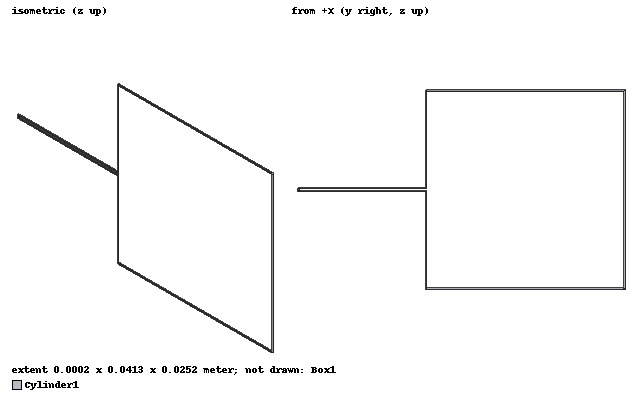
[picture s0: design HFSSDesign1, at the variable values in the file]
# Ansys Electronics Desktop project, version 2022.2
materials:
  vacuum: permittivity=1
  perfect conductor: conductivity=1e+30
  pec: conductivity=1e+30
  air: permittivity=1.0006 permeability=1.0000004

design HFSSDesign1 (HFSS, DrivenModal, model units meter)
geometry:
  Cylinder1 [pec] = cylinder(axis=Z, base_centre=(0meter, 0meter, 0.0002meter), radius=0.0001meter, height=0.0123meter)
  Cylinder2 = cylinder(axis=Z, base_centre=(0meter, 0meter, -0.0002meter), radius=0.0001meter, height=-0.0123meter)
  Cylinder3 = cylinder(axis=Z, base_centre=(0meter, 0.025meter, -0.0125meter), radius=0.0001meter, height=0.025meter)
  Cylinder4 = cylinder(axis=Y, base_centre=(0meter, 0meter, 0.0125meter), radius=0.0001meter, height=0.025meter)
  Cylinder5 = cylinder(axis=Y, base_centre=(0meter, 0meter, -0.0125meter), radius=0.0001meter, height=0.025meter)
  Cylinder6 = cylinder(axis=Y, base_centre=(0meter, 0meter, -0.0002meter), radius=0.0001meter, height=-0.0162meter)
  Cylinder7 = cylinder(axis=Y, base_centre=(0meter, 0meter, 0.0002meter), radius=0.0001meter, height=-0.0162meter)
  Sphere1 = sphere(centre=(0meter, 0meter, 0.0002meter), radius=0.0001meter)
  Sphere2 = sphere(centre=(0meter, 0meter, -0.0002meter), radius=0.0001meter)
  Sphere3 = sphere(centre=(0meter, 0meter, 0.0125meter), radius=0.0001meter)
  Sphere4 = sphere(centre=(0meter, 0meter, -0.0125meter), radius=0.0001meter)
  Sphere5 = sphere(centre=(0meter, 0.025meter, -0.0125meter), radius=0.0001meter)
  Sphere6 = sphere(centre=(0meter, 0.025meter, 0.0125meter), radius=0.0001meter)
  Rectangle1 [pec] = rectangle(corner=(0meter, -0.0162meter, -0.0001meter), y_size=0.0002meter, z_size=0.0002meter)
  Cylinder3.unite(Cylinder5, Sphere5)
  Cylinder1.unite(Cylinder2, Cylinder3, Cylinder4, Cylinder6, Cylinder7, Sphere1..Sphere4, Sphere6)
  Box1 [air] = box(corner=(-0.05meter, -0.05meter, -0.05meter), size=(0.1meter, 0.1meter, 0.1meter))
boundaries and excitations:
  Rad1: Radiation Objects=Box1
  1: Lumped Port Objects=Rectangle1 Modes{Mode1{IntLine{(0, -0.0161, -0.0001) -> (0, -0.0161, 0.0001)} CharImp=Zpi RenormImp=50ohm}} Impedance=50ohm
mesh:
  SurfApprox1: SurfApproxBased Objects=Box1 CurvedSurfaceApproxChoice=UseSlider SliderMeshSettings=1
  SurfApprox2: SurfApproxBased Objects=Cylinder1 CurvedSurfaceApproxChoice=UseSlider SliderMeshSettings=1
  SurfApprox3: SurfApproxBased Objects=Rectangle1 CurvedSurfaceApproxChoice=UseSlider SliderMeshSettings=1
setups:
  Setup1: HfssDrivenAuto AutoSolverSetting="Higher Speed" Type=Interpolating
    sweep Sweep: 2GHz to 4GHz, 401 points;
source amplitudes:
  1:1: 1W 0deg
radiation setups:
  Infinite Sphere1: Infinite Sphere Theta=0deg..180deg step 2deg Phi=-180deg..180deg step 2deg
  Infinite Sphere2: Infinite Sphere Theta=0deg..360deg step 0.1rad Phi=0deg..360deg step 0.1rad
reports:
  S Parameter Plot 1: dB(S(1,1)) vs Freq on Setup1 : Sweep
  VSWR Plot 1: dB(VSWR(1)) vs Freq on Setup1 : Sweep
  Gain Plot 1: dB(GainTotal) vs Theta on Setup1 : LastAdaptive, Infinite Sphere2 [Phi=all Freq=3GHz]
  Gain Plot 2: dB(GainTotal) vs Phi, Theta on Setup1 : LastAdaptive, Infinite Sphere1 [Freq=3GHz]
  Directivity Plot 1: DirTotal vs Theta on Setup1 : LastAdaptive, Infinite Sphere2 [Phi=all Freq=3GHz]
  Directivity Plot 4: DirTotal vs Phi, Theta on Setup1 : LastAdaptive, Infinite Sphere1 [Freq=3GHz]
  rE Plot 1: dB(rETotal) vs Theta on Setup1 : LastAdaptive, Infinite Sphere2 [Phi=all Freq=3GHz]
